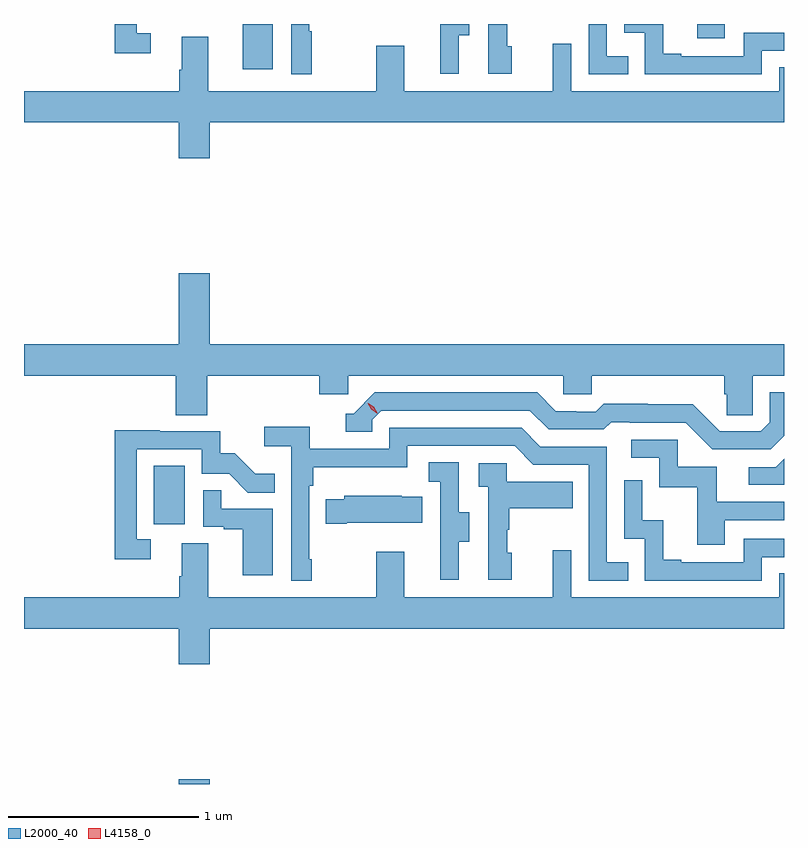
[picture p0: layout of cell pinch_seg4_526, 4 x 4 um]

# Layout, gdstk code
import gdstk
lib = gdstk.Library(unit=1e-6, precision=1e-09)
def R(c, l, rs):  # rectangles x0, y0, x1, y1
    for r in rs: c.add(gdstk.rectangle(r[:2], r[2:], *l))
def P(c, l, *ps):  # polygons
    for p in ps: c.add(gdstk.Polygon(p, *l))
L2000_40 = (2000, 40)
L4158_0 = (4158, 0)

pinch_seg4_526 = lib.new_cell('pinch_seg4_526')
R(pinch_seg4_526, L2000_40, [(1142.03,773.358,1142.194,773.383), (1141.898,774.726,1142.062,775.033), (1142.366,777.12,1142.524,777.358), (1144.759,777.282,1144.903,777.358)])
P(pinch_seg4_526, L2000_40, [(1141.882,777.309),(1141.809,777.309),(1141.809,777.358),(1141.693,777.358),(1141.693,777.204),(1141.882,777.204)],
  [(1142.731,777.32),(1142.718,777.32),(1142.718,777.358),(1142.622,777.358),(1142.622,777.093),(1142.731,777.093)],
  [(1144.397,777.189),(1144.284,777.189),(1144.284,777.358),(1144.188,777.358),(1144.188,777.093),(1144.397,777.093)],
  [(1143.505,777.298),(1143.559,777.298),(1143.559,777.358),(1143.408,777.358),(1143.408,777.309),(1143.407,777.309),(1143.407,777.096),(1143.505,777.096)],
  [(1143.784,777.24),(1143.759,777.24),(1143.759,777.358),(1143.66,777.358),(1143.66,777.096),(1143.784,777.096)],
  [(1145.1,777.216),(1145.216,777.216),(1145.216,777.312),(1145.004,777.312),(1145.004,777.189),(1144.675,777.189),(1144.675,777.202),(1144.58,777.202),(1144.58,777.358),(1144.374,777.358),(1144.374,777.312),(1144.482,777.312),(1144.482,777.093),(1145.1,777.093)],
  [(1142.194,776.84),(1145.216,776.84),(1145.216,777.131),(1145.19,777.131),(1145.19,777.004),(1144.095,777.004),(1144.095,777.253),(1143.998,777.253),(1143.998,777.004),(1143.217,777.004),(1143.217,777.244),(1143.07,777.244),(1143.07,777.004),(1142.185,777.004),(1142.185,777.29),(1142.045,777.29),(1142.045,777.116),(1142.033,777.116),(1142.033,777.004),(1141.216,777.004),(1141.216,776.84),(1142.03,776.84),(1142.03,776.652),(1142.194,776.652)],
  [(1142.18,775.508),(1142.771,775.508),(1142.771,775.41),(1142.922,775.41),(1142.922,775.508),(1144.053,775.508),(1144.053,775.41),(1144.203,775.41),(1144.203,775.508),(1144.901,775.508),(1144.901,775.41),(1144.915,775.41),(1144.915,775.3),(1145.052,775.3),(1145.052,775.508),(1145.216,775.508),(1145.216,775.672),(1142.194,775.672),(1142.194,776.047),(1142.03,776.047),(1142.03,775.672),(1141.216,775.672),(1141.216,775.508),(1142.015,775.508),(1142.015,775.3),(1142.18,775.3)],
  [(1145.216,775.19),(1145.216,775.419),(1145.142,775.419),(1145.142,775.263),(1145.094,775.215),(1144.878,775.215),(1144.736,775.357),(1144.5,775.357),(1144.5,775.36),(1144.267,775.36),(1144.225,775.317),(1144.122,775.317),(1144.122,775.32),(1144.015,775.32),(1143.916,775.419),(1143.063,775.419),(1142.952,775.308),(1142.909,775.308),(1142.909,775.212),(1143.048,775.212),(1143.048,775.275),(1143.096,775.323),(1143.879,775.323),(1143.978,775.224),(1144.267,775.224),(1144.306,775.263),(1144.405,775.263),(1144.405,775.26),(1144.698,775.26),(1144.839,775.119),(1145.145,775.119)],
  [(1142.731,774.541),(1142.718,774.541),(1142.718,774.929),(1142.738,774.929),(1142.738,775.025),(1143.234,775.025),(1143.234,775.137),(1143.798,775.137),(1143.897,775.038),(1144.188,775.038),(1144.188,774.429),(1144.397,774.429),(1144.397,774.525),(1144.284,774.525),(1144.284,775.134),(1143.934,775.134),(1143.835,775.233),(1143.138,775.233),(1143.138,775.122),(1142.72,775.122),(1142.72,775.238),(1142.481,775.238),(1142.481,775.136),(1142.622,775.136),(1142.622,774.429),(1142.731,774.429)],
  [(1141.882,774.645),(1141.809,774.645),(1141.809,775.119),(1142.151,775.119),(1142.151,774.99),(1142.295,774.99),(1142.393,774.892),(1142.537,774.892),(1142.537,774.991),(1142.433,774.991),(1142.326,775.098),(1142.25,775.098),(1142.25,775.215),(1141.931,775.215),(1141.931,775.22),(1141.693,775.22),(1141.693,774.54),(1141.882,774.54)],
  [(1144.903,774.747),(1145.216,774.747),(1145.216,774.843),(1144.861,774.843),(1144.861,775.029),(1144.656,775.029),(1144.656,775.17),(1144.413,775.17),(1144.413,775.074),(1144.56,775.074),(1144.56,774.921),(1144.759,774.921),(1144.759,774.618),(1144.903,774.618)],
  [(1145.216,775.07),(1145.172,775.026),(1145.031,775.026),(1145.031,774.933),(1145.216,774.933)],
  [(1143.505,774.634),(1143.559,774.634),(1143.559,774.789),(1143.504,774.789),(1143.504,775.052),(1143.345,775.052),(1143.345,774.949),(1143.408,774.949),(1143.408,774.645),(1143.407,774.645),(1143.407,774.432),(1143.505,774.432)],
  [(1143.784,774.576),(1143.759,774.576),(1143.759,774.695),(1143.769,774.695),(1143.769,774.809),(1144.103,774.809),(1144.103,774.949),(1143.756,774.949),(1143.756,775.047),(1143.609,775.047),(1143.609,774.923),(1143.66,774.923),(1143.66,774.432),(1143.784,774.432)],
  [(1145.1,774.552),(1145.216,774.552),(1145.216,774.648),(1145.004,774.648),(1145.004,774.525),(1144.675,774.525),(1144.675,774.538),(1144.58,774.538),(1144.58,774.746),(1144.47,774.746),(1144.47,774.958),(1144.374,774.958),(1144.374,774.648),(1144.482,774.648),(1144.482,774.429),(1145.1,774.429)],
  [(1142.524,774.807),(1142.255,774.807),(1142.255,774.905),(1142.16,774.905),(1142.16,774.711),(1142.267,774.711),(1142.267,774.699),(1142.366,774.699),(1142.366,774.456),(1142.524,774.456)],
  [(1142.914,774.734),(1143.311,774.734),(1143.311,774.871),(1143.203,774.871),(1143.203,774.874),(1142.901,774.874),(1142.901,774.856),(1142.803,774.856),(1142.803,774.727),(1142.914,774.727)],
  [(1142.194,774.176),(1145.216,774.176),(1145.216,774.467),(1145.19,774.467),(1145.19,774.34),(1144.095,774.34),(1144.095,774.589),(1143.998,774.589),(1143.998,774.34),(1143.217,774.34),(1143.217,774.58),(1143.07,774.58),(1143.07,774.34),(1142.185,774.34),(1142.185,774.626),(1142.045,774.626),(1142.045,774.452),(1142.033,774.452),(1142.033,774.34),(1141.216,774.34),(1141.216,774.176),(1142.03,774.176),(1142.03,773.988),(1142.194,773.988)])
P(pinch_seg4_526, L4158_0, [(1143.073,775.31),(1143.043,775.33),(1143.026,775.362),(1143.026,775.362),(1143.027,775.362),(1143.058,775.343),(1143.074,775.311),(1143.074,775.31)])

lib.write_gds('pinch_seg4_526.gds')
